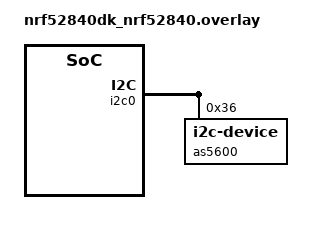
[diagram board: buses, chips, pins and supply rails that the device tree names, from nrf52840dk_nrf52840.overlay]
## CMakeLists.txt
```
cmake_minimum_required(VERSION 3.20.0)
find_package(Zephyr REQUIRED HINTS $ENV{ZEPHYR_BASE})

project(nRF_2_6_1)

target_sources(app PRIVATE src/main.c)
```

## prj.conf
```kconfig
# ADDING FOR LOGGER...
CONFIG_PRINTK=y

CONFIG_CONSOLE=y
CONFIG_RTT_CONSOLE=y

# Enable RTT
CONFIG_USE_SEGGER_RTT=y

CONFIG_LOG=y
CONFIG_LOG_BACKEND_RTT=y
CONFIG_LOG_PRINTK=y

# Enable GPIO
CONFIG_GPIO=y

# Enable I2C
CONFIG_I2C=y


CONFIG_NEWLIB_LIBC=y
CONFIG_NEWLIB_LIBC_FLOAT_PRINTF=y
```

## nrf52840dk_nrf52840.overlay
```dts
// To get started, press Ctrl+Space to bring up the completion menu and view the available nodes.

// You can also use the buttons in the sidebar to perform actions on nodes.
// Actions currently available include:

// * Enabling / disabling the node
// * Adding the bus to a bus
// * Removing the node
// * Connecting ADC channels

// For more help, browse the DeviceTree documentation at https://docs.zephyrproject.org/latest/guides/dts/index.html
// You can also visit the nRF DeviceTree extension documentation at https://docs.nordicsemi.com/bundle/nrf-connect-vscode/page/guides/ncs_configure_app.html#devicetree-support-in-the-extension

&i2c0 {
	as5600: as5600@36 {
        compatible = "i2c-device";
		reg = <0x36>;
        status = "okay";
	};
};
```

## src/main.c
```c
#include <zephyr/kernel.h>
#include <zephyr/sys/printk.h>
#include <zephyr/logging/log.h>
#include <zephyr/drivers/gpio.h>
#include <zephyr/drivers/i2c.h>


LOG_MODULE_REGISTER(test_as5600);
#define I2C0_NODE DT_NODELABEL(as5600)
static const struct i2c_dt_spec dev_i2c = I2C_DT_SPEC_GET(I2C0_NODE);

void write_byte_i2c(uint8_t *data);
void read_byte_i2c(uint8_t *data);

int main(void)
{

        if (!device_is_ready(dev_i2c.bus))
        {
                LOG_ERR("I2C bus %s is not ready!\n\r", dev_i2c.bus->name);
                return 0;
        }

        k_msleep(20);

        uint8_t address_angle_11_8 = 0x0E;
        uint8_t address_angle_7_0 = 0x0F;

        while (1)
        {
                uint8_t data_angle_11_8 = 0;
                uint8_t data_angle_7_0 = 0;

                write_byte_i2c(&address_angle_11_8);
                read_byte_i2c(&data_angle_11_8);
                k_msleep(5);
                write_byte_i2c(&address_angle_7_0);
                read_byte_i2c(&data_angle_7_0);
                uint16_t angle = ( ((data_angle_11_8 & 0x0F) << 8) | (data_angle_7_0));
                LOG_INF("11_8: %u, 7_0: %u,  Angle: %u", data_angle_11_8, data_angle_7_0, angle);

                k_msleep(100);

       }

        return 0;
}

void write_byte_i2c(uint8_t *data)
{
        int ret = i2c_write_dt(&dev_i2c, data, 1);
        if (ret != 0)
        {
                LOG_ERR("Failed to write to I2C device address %x at reg. %u \n\r", dev_i2c.addr, *data);
        }
}

void read_byte_i2c(uint8_t *data)
{
        int ret;

        ret = i2c_read_dt(&dev_i2c, data, 1);
        if (ret != 0)
        {
                LOG_ERR("Failed to read from I2C device address %x at Reg. %u \n\r", dev_i2c.addr, *data);
        }
}
```
